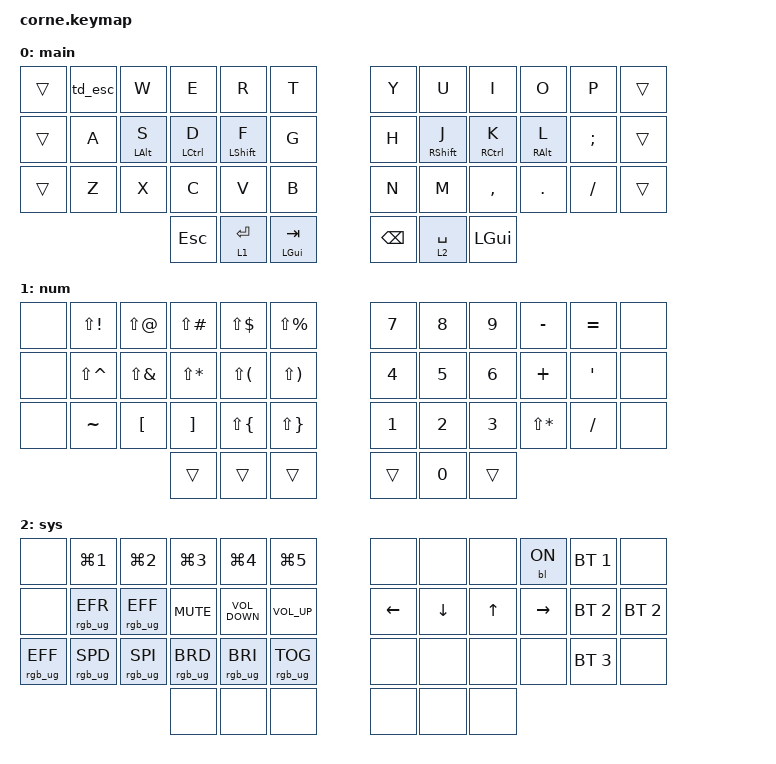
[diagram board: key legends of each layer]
#include <behaviors.dtsi>
#include <dt-bindings/zmk/backlight.h>
#include <dt-bindings/zmk/bt.h>
#include <dt-bindings/zmk/keys.h>
#include <dt-bindings/zmk/rgb.h>

&led_strip {
    chain-length = <27>; // 21 backlight + 6 underglow
};

/ {
    behaviors {
        hm: homerow_mod {
            compatible = "zmk,behavior-hold-tap";
            label = "HOMEROW_MOD";
            bindings = <&kp>, <&kp>;

            #binding-cells = <2>;
            flavor = "balanced";
            tapping-term-ms = <250>;
            hold-while-undecided;
            hold-trigger-key-positions = <0 1 2 3 4 5 6 7 8 9 10 11 12 13 14 15 16 17 18 19 20 21 22 23 24 25 26 27 28 29 30 31 32 33 34 35 22 27 28 29 30 31 32 33 34 36 37 38 39 40 41>;
        };

        td_esc: td_esc {
            compatible = "zmk,behavior-tap-dance";
            label = "TD_ESC";
            #binding-cells = <0>;
            bindings = <&kp Q>, <&kp ESCAPE>;
        };
    };

    combos {
        compatible = "zmk,combos";

        jk-escape {
            bindings = <&kp ESC>;
            key-positions = <17 16>;
            require-prior-idle-ms = <250>;
            timeout-ms = <200>;
            layers = <0>;
        };
    };

    keymap {
        compatible = "zmk,keymap";

        main {
            bindings = <
&trans  &td_esc  &kp W       &kp E        &kp R         &kp T           &kp Y     &kp U        &kp I        &kp O       &kp P     &trans
&trans  &kp A    &hm LALT S  &hm LCTRL D  &hm LSHIFT F  &kp G           &kp H     &hm RSHFT J  &hm RCTRL K  &hm RALT L  &kp SEMI  &trans
&trans  &kp Z    &kp X       &kp C        &kp V         &kp B           &kp N     &kp M        &kp COMMA    &kp DOT     &kp FSLH  &trans
                             &kp ESC      &lt 1 ENTER   &mt LGUI TAB    &kp BSPC  &lt 2 SPACE  &kp LGUI
            >;
        };

        num {
            bindings = <
&none  &kp LS(EXCL)   &kp LS(AT)    &kp LS(POUND)  &kp LS(DLLR)  &kp LS(PRCNT)    &kp N7        &kp N8  &kp N9  &kp MINUS         &kp EQUAL  &none
&none  &kp LS(CARET)  &kp LS(AMPS)  &kp LS(STAR)   &kp LS(LPAR)  &kp LS(RPAR)     &kp N4        &kp N5  &kp N6  &kp PLUS          &kp SQT    &none
&none  &kp TILDE      &kp LBKT      &kp RBKT       &kp LS(LBRC)  &kp LS(RBRC)     &kp NUMBER_1  &kp N2  &kp N3  &kp LS(ASTERISK)  &kp FSLH   &none
                                    &trans         &trans        &trans           &trans        &kp N0  &trans
            >;
        };

        sys {
            bindings = <
&none            &kp LG(N1)       &kp LG(N2)       &kp LG(N3)       &kp LG(N4)         &kp LG(N5)         &none     &none     &none   &bl BL_ON  &bt BT_SEL 1  &none
&none            &rgb_ug RGB_EFR  &rgb_ug RGB_EFF  &kp K_MUTE       &kp C_VOLUME_DOWN  &kp C_VOLUME_UP    &kp LEFT  &kp DOWN  &kp UP  &kp RIGHT  &bt BT_SEL 2  &bt BT_SEL 2
&rgb_ug RGB_EFF  &rgb_ug RGB_SPD  &rgb_ug RGB_SPI  &rgb_ug RGB_BRD  &rgb_ug RGB_BRI    &rgb_ug RGB_TOG    &none     &none     &none   &none      &bt BT_SEL 3  &none
                                                   &none            &none              &none              &none     &none     &none
            >;
        };
    };
};
